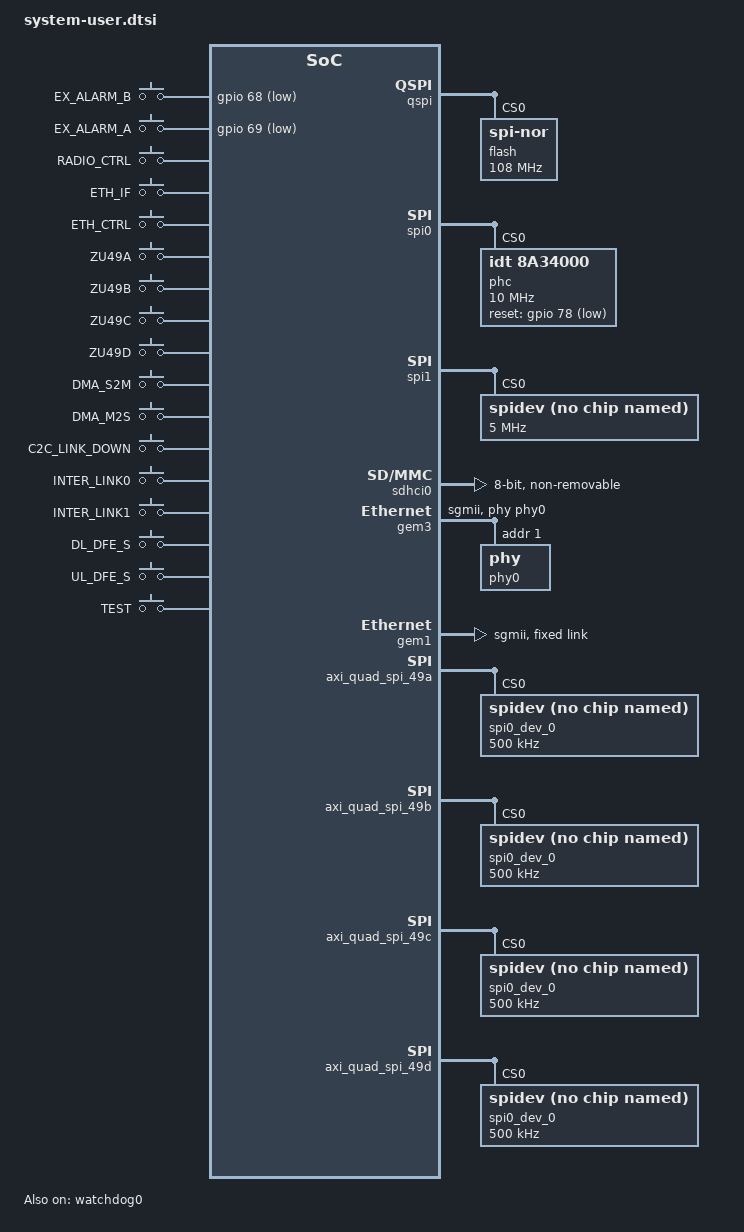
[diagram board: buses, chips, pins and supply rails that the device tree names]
#include <dt-bindings/interrupt-controller/irq.h>
/include/ "system-conf.dtsi"
/ {
	aliases {
		//spi0 = &#;
		spi1 = &spi0;
		spi2 = &spi1;
		spi3 = &axi_quad_spi_49a;
		spi4 = &axi_quad_spi_49b;
		spi5 = &axi_quad_spi_49c;
		spi6 = &axi_quad_spi_49d;
	};

	gpio_keys:@0 {
		compatible = "gpio-keys";
		label = "zulu Interrupt collection";

		gpio_irq0 {
			label = "EX_ALARM_B";
			gpios = <&gpio 68 1>;
			linux,code = <0x100>;
			debounce-interval = <20>;
		};

		gpio_irq1 {
			label = "EX_ALARM_A";
			gpios = <&gpio 69 1>;
			linux,code = <0x101>;
			debounce-interval = <20>;
		};
	};

};

&qspi {
	status = "okay";
	is-dual = <0>;
	num-cs = <1>;
	flash@0 {
		compatible ="jedec,spi-nor";
		reg = <0x0>;
		spi-tx-bus-width = <1>;
		spi-rx-bus-width = <4>;
		spi-max-frequency = <108000000>;
		#address-cells = <1>;
		#size-cells = <1>;
	};
};

&spi0 {
	status = "okay";
	num-cs = <1>;
	u-boot,dm-pre-reloc;
	phc@0 {
		compatible="idt,8a34000";
		reg = <0>;
		spi-max-frequency = <10000000>;
		reset-gpio = <&gpio 78 1>;//GPIO_ACTIVE_LOW
	};
};

&spi1 {
	status = "okay";
	num-cs = <1>;
	u-boot,dm-pre-reloc;
	spidev@0 {
		compatible="rohm,dh2228fv";
		reg = <0>;
		dbgname = "spi0-ff050000";
		spi-max-frequency = <5000000>;
	};
};

&sdhci0 {
	status = "okay";
	bus-width = <8>;
	non-removable;
	cap-mmc-highspeed;
	cap-sd-highspeed;
	disable-wp;
	no-1-8-v;
};

// &axi_intc_0 {
// 	status = "disabled";
// };

&watchdog0 {
	status = "okay";
	reset-on-timeout;
	timeout-sec = <60>;
};

&gem3 {
	status = "okay";
	phy-handle = <&phy0>;
	phy-mode = "sgmii";
	is-internal-pcspma = <0x1>;
	phy0: phy@1 {
		reg = <0x1>;
	};
};


&gem1 {
	status = "okay";
	phy-mode = "sgmii";
	is-internal-pcspma = <0x1>;

	fixed-link {
		speed = <1000>;
		full-duplex;
	};

	switch-link {
		reset-gpios = <&gpio 54 0>;
		fixed-ports = <0x8f>;
		phy-ports = <0x140>;
	};
};

/*
&gem1 {
	status = "okay";
	phy-mode = "sgmii";
	is-internal-pcspma = <0x1>;

	fixed-link {
		speed = <1000>;
		full-duplex;
	};

	mdio {
		status = "okay";
		#address-cells = <1>;
		#size-cells = <0>;

		switch@0 {
			compatible = "marvell,mv88e6185";
			reset-gpios = <&gpio 54 1>;
			reg = <0>;
			#address-cells = <0x01>;
			#size-cells = <0x00>;

			ports {
				#address-cells = <1>;
				#size-cells = <0>;

				port@0 {
					reg = <0>;
					label = "cpu";
					phy-mode = "sgmii";
					ethernet = <&gem1>;
					fixed-link {
						speed = <1000>;
						full-duplex;
					};
				};

				port@1 {
					reg = <1>;
					label = "lan1";

					fixed-link {
						speed = <1000>;
						full-duplex;
					};
				};

				port@2 {
					reg = <2>;
					label = "lan2";

					fixed-link {
						speed = <1000>;
						full-duplex;
					};
				};

				port@3 {
					reg = <3>;
					label = "lan3";

					fixed-link {
						speed = <1000>;
						full-duplex;
					};
				};

				port@5 {
					reg = <5>;
					label = "lan5";

					fixed-link {
						speed = <1000>;
						full-duplex;
					};
				};
				port@6 {
					reg = <6>;
					label = "wan0";
					phy-handle = <&phy1>;
					phy-mode = "sgmii";
					is-internal-pcspma = <0x1>;
					phy1: phy@6 {
						reg = <0x6>;
					};
				};
				port@7 {
					reg = <7>;
					label = "lan7";

					fixed-link {
						speed = <1000>;
						full-duplex;
					};
				};


			};
		};
	};
};
*/

&amba_pl{
	masterFpga: masterFpga@a0000000 {
		compatible = "generic-uio";
		reg = <0x0 0xa0000000 0x0 0x800000>;
	};

	slaveFpga0: slaveFpga0@a0800000 {
		compatible = "generic-uio";
		reg = <0x0 0xa0800000 0x0 0x200000>;
	};

	slaveFpga1: slaveFpga1@a0a00000 {
		compatible = "generic-uio";
		reg = <0x0 0xa0a00000 0x0 0x200000>;
	};

	slaveFpga2: slaveFpga2@a0c00000 {
		compatible = "generic-uio";
		reg = <0x0 0xa0c00000 0x0 0x200000>;
	};

	slaveFpga3: slaveFpga3@a0e00000 {
		compatible = "generic-uio";
		reg = <0x0 0xa0e00000 0x0 0x200000>;
	};

	axi_quad_spi_49a: axi_quad_spi@a0801000 {
		bits-per-word = <8>;
		clock-names = "ext_spi_clk", "s_axi_aclk";
		clocks = <&zynqmp_clk 72>, <&zynqmp_clk 72>;
		compatible = "xlnx,axi-quad-spi-3.2", "xlnx,xps-spi-2.00.a";
		fifo-size = <256>;
		interrupt-names = "ip2intc_irpt";
		interrupt-parent = <&gic>;
		interrupts = <0 104 1>;
		num-cs = <0x1>;
		reg = <0x0 0xa0801000 0x0 0x1000>;
		xlnx,num-ss-bits = <0x1>;
		xlnx,spi-mode = <0>;
	};

	axi_quad_spi_49b: axi_quad_spi@a0a01000 {
		bits-per-word = <8>;
		clock-names = "ext_spi_clk", "s_axi_aclk";
		clocks = <&zynqmp_clk 72>, <&zynqmp_clk 72>;
		compatible = "xlnx,axi-quad-spi-3.2", "xlnx,xps-spi-2.00.a";
		fifo-size = <256>;
		interrupt-names = "ip2intc_irpt";
		interrupt-parent = <&gic>;
		interrupts = <0 105 1>;
		num-cs = <0x1>;
		reg = <0x0 0xa0a01000 0x0 0x1000>;
		xlnx,num-ss-bits = <0x1>;
		xlnx,spi-mode = <0>;
	};

	axi_quad_spi_49c: axi_quad_spi@a0c01000 {
		bits-per-word = <8>;
		clock-names = "ext_spi_clk", "s_axi_aclk";
		clocks = <&zynqmp_clk 72>, <&zynqmp_clk 72>;
		compatible = "xlnx,axi-quad-spi-3.2", "xlnx,xps-spi-2.00.a";
		fifo-size = <256>;
		interrupt-names = "ip2intc_irpt";
		interrupt-parent = <&gic>;
		interrupts = <0 106 1>;
		num-cs = <0x1>;
		reg = <0x0 0xa0c01000 0x0 0x1000>;
		xlnx,num-ss-bits = <0x1>;
		xlnx,spi-mode = <0>;
	};

	axi_quad_spi_49d: axi_quad_spi@a0e01000 {
		bits-per-word = <8>;
		clock-names = "ext_spi_clk", "s_axi_aclk";
		clocks = <&zynqmp_clk 72>, <&zynqmp_clk 72>;
		compatible = "xlnx,axi-quad-spi-3.2", "xlnx,xps-spi-2.00.a";
		fifo-size = <256>;
		interrupt-names = "ip2intc_irpt";
		interrupt-parent = <&gic>;
		interrupts = <0 107 1>;
		num-cs = <0x1>;
		reg = <0x0 0xa0e01000 0x0 0x1000>;
		xlnx,num-ss-bits = <0x1>;
		xlnx,spi-mode = <0>;
	};

	dma_proxy {
		compatible ="xlnx,dma_proxy";
		dmas = <&axi_dma_1 0 &axi_dma_1 1>;
		dma-names = "dma_proxy_tx", "dma_proxy_rx";
	};
};


&axi_dma_1 {
	interrupts = <0 110 4 0 111 4>;
	dma-channel@a0188000 {
		interrupts = <0 110 4>;
	};
	dma-channel@a0188030 {
		interrupts = <0 111 4>;
	};
};

&axi_quad_spi_49a {
	status = "okay";
	label = <101>;

	spi0_dev_0@0 {
		#address-cells = <1>;
		#size-cells = <1>;
		compatible = "rohm,dh2228fv";
		reg = <0>;
		dbgname = "spi0-a0801000";
		spi-max-frequency = <500000>;
	};
};

&axi_quad_spi_49b {
	status = "okay";
	label = <102>;

	spi0_dev_0@0 {
		#address-cells = <1>;
		#size-cells = <1>;
		compatible = "rohm,dh2228fv";
		reg = <0>;
		dbgname = "spi0-a0a01000";
		spi-max-frequency = <500000>;
	};
};

&axi_quad_spi_49c {
	status = "okay";
	label = <103>;

	spi0_dev_0@0 {
		#address-cells = <1>;
		#size-cells = <1>;
		compatible = "rohm,dh2228fv";
		reg = <0>;
		dbgname = "spi0-a0c01000";
		spi-max-frequency = <500000>;
	};
};

&axi_quad_spi_49d {
	status = "okay";
	label = <104>;

	spi0_dev_0@0 {
		#address-cells = <1>;
		#size-cells = <1>;
		compatible = "rohm,dh2228fv";
		reg = <0>;
		dbgname = "spi0-a0e01000";
		spi-max-frequency = <500000>;
	};
};

&gpio_keys {

	pl_irq0{
		label = "RADIO_CTRL";
		linux,code = <1>;
		interrupt-parent = <&axi_intc_0>;
		interrupts = <0 IRQ_TYPE_NONE>;
		debounce-interval = <0>;
	};

	pl_irq2{
		label = "ETH_IF";
		linux,code = <3>;
		interrupt-parent = <&axi_intc_0>;
		interrupts = <2 IRQ_TYPE_NONE>;
		debounce-interval = <0>;
	};

	pl_irq3{
		label = "ETH_CTRL";
		linux,code = <4>;
		interrupt-parent = <&axi_intc_0>;
		interrupts = <3 IRQ_TYPE_NONE>;
		debounce-interval = <0>;
	};

	pl_irq4{
		label = "ZU49A";
		linux,code = <5>;
		interrupt-parent = <&axi_intc_0>;
		interrupts = <4 IRQ_TYPE_NONE>;
		debounce-interval = <0>;
	};

	pl_irq5{
		label = "ZU49B";
		linux,code = <6>;
		interrupt-parent = <&axi_intc_0>;
		interrupts = <5 IRQ_TYPE_NONE>;
		debounce-interval = <0>;
	};

	pl_irq6{
		label = "ZU49C";
		linux,code = <7>;
		interrupt-parent = <&axi_intc_0>;
		interrupts = <6 IRQ_TYPE_NONE>;
		debounce-interval = <0>;
	};

	pl_irq7{
		label = "ZU49D";
		linux,code = <8>;
		interrupt-parent = <&axi_intc_0>;
		interrupts = <7 IRQ_TYPE_NONE>;
		debounce-interval = <0>;
	};

	pl_irq9{
		label = "DMA_S2M";
		linux,code = <10>;
		interrupt-parent = <&axi_intc_0>;
		interrupts = <9 IRQ_TYPE_NONE>;
		debounce-interval = <0>;
	};

	pl_irq11{
		label = "DMA_M2S";
		linux,code = <12>;
		interrupt-parent = <&axi_intc_0>;
		interrupts = <11 IRQ_TYPE_NONE>;
		debounce-interval = <0>;
	};

	pl_irq13{
		label = "C2C_LINK_DOWN";
		linux,code = <14>;
		interrupt-parent = <&axi_intc_0>;
		interrupts = <13 IRQ_TYPE_NONE>;
		debounce-interval = <0>;
	};

	pl_irq14{
		label = "INTER_LINK0";
		linux,code = <15>;
		interrupt-parent = <&axi_intc_0>;
		interrupts = <14 IRQ_TYPE_NONE>;
		debounce-interval = <0>;
	};

	pl_irq15{
		label = "INTER_LINK1";
		linux,code = <16>;
		interrupt-parent = <&axi_intc_0>;
		interrupts = <15 IRQ_TYPE_NONE>;
		debounce-interval = <0>;
	};

	pl_irq16{
		label = "DL_DFE_S";
		linux,code = <17>;
		interrupt-parent = <&axi_intc_0>;
		interrupts = <16 IRQ_TYPE_NONE>;
		debounce-interval = <0>;
	};

	pl_irq17{
		label = "UL_DFE_S";
		linux,code = <18>;
		interrupt-parent = <&axi_intc_0>;
		interrupts = <17 IRQ_TYPE_NONE>;
		debounce-interval = <0>;
	};

	pl_irq30{
		label = "TEST";
		linux,code = <28>;
		interrupt-parent = <&axi_intc_0>;
		interrupts = <27 IRQ_TYPE_NONE>;
		debounce-interval = <0>;
	};
};


&support_1588_2step_timer1588_subs_timer_1588_v2_0_0{
        compatible = "xlnx,timer-1588-2.0";
        xlnx,period = <4000000>;
	pps_in_fifo = <&axi_fifo_mm_s_0>;
};

&oran_radio_if_1{
        compatible = "xlnx,oran-radio-if-1.0";
};

&support_1588_2step_tx_ts_fifo_axi_fifo_mm_s_0{
        compatible = "xlnx,axi-fifo-mm-s-4.1";
};

&support_1588_2step_rx_ts_fifo_axi_fifo_mm_s_0{
        compatible = "xlnx,axi-fifo-mm-s-4.1";
};

&xxv_ethernet_0{
        axistream-connected = <&eth_axi_dma>;
        axistream-control-connected = <&eth_axi_dma>;
        axififo-connected = <&support_1588_2step_tx_ts_fifo_axi_fifo_mm_s_0>;
        xlnx,rxtsfifo = <&support_1588_2step_rx_ts_fifo_axi_fifo_mm_s_0>;
        xlnx,num-queues = /bits/ 16 <0x1>;
        xlnx,channel-ids = "1", "2", "3", "4", "5", "6", "7", "8", "9", "a", "b", "c", "d", "e", "f", "10";
        xlnx,include-dre;
        interrupt-names = "mm2s_ch1_introut", "s2mm_ch1_introut";
        interrupt-parent = <&gic>;
        interrupts = <0 94 4 0 95 4>;
        /*local-mac-address = [ff ff ff ff ff ff];*/
};

&xxv_ethernet_1{
        compatible = "xlnx,xxv-ethernet-1.9";
};

&xxv_ethernet_2{
        compatible = "xlnx,xxv-ethernet-1.9";
};

&xxv_ethernet_3{
        compatible = "xlnx,xxv-ethernet-1.9";
};

&eth_axi_dma {
        compatible = "xlnx,eth-dma";
        xlnx,include-dre;
};
